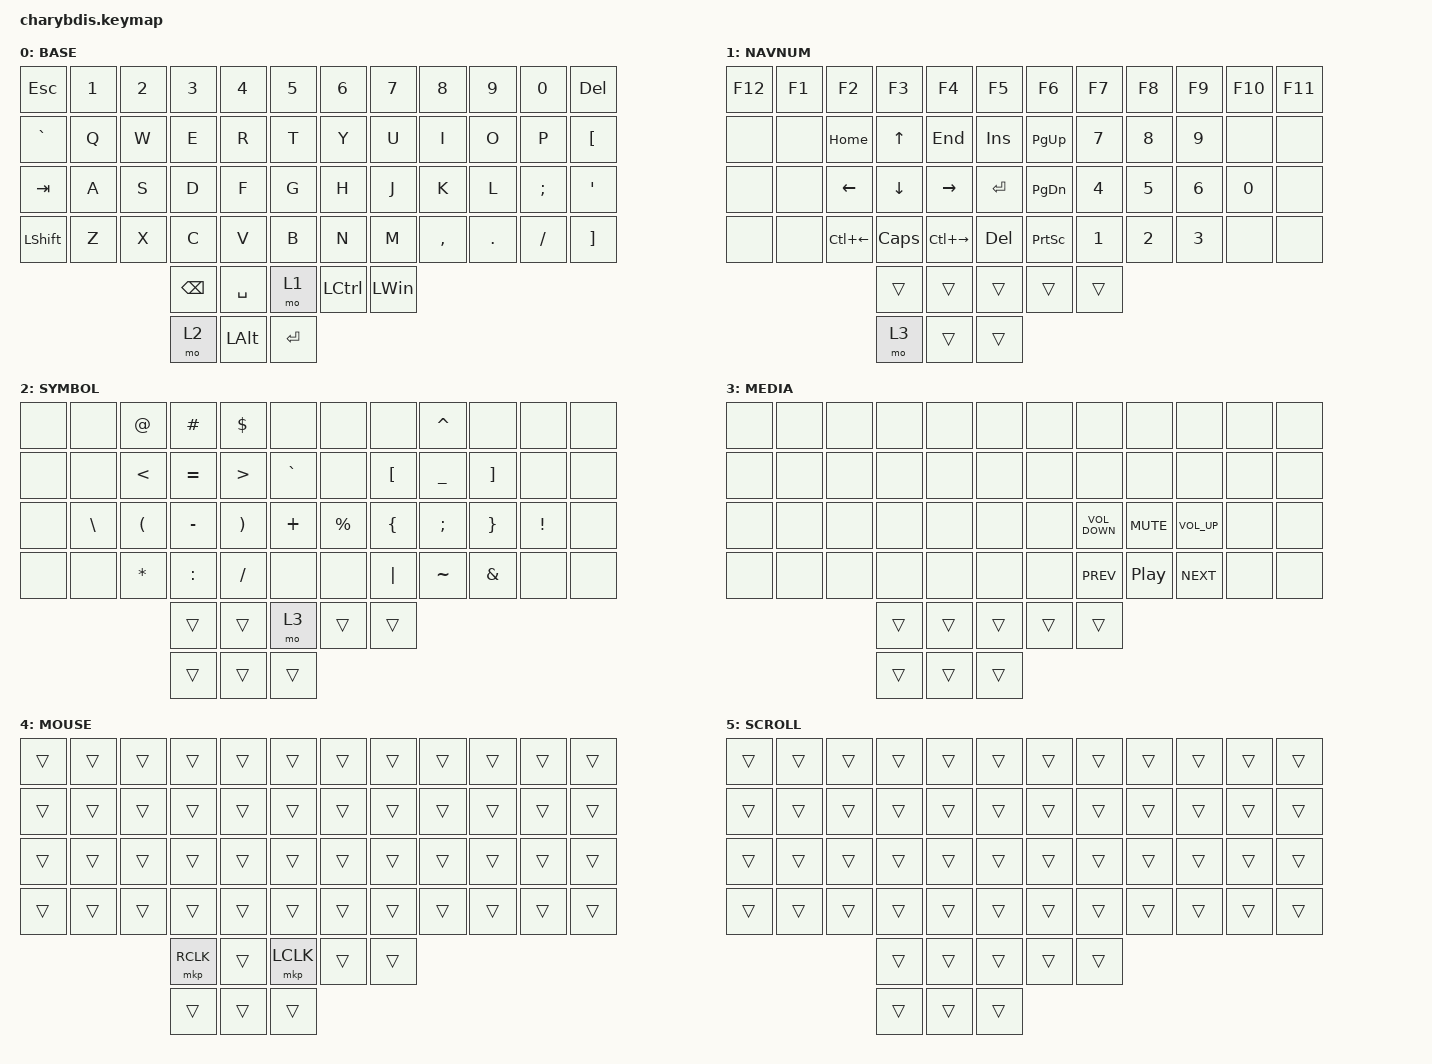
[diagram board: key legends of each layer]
Attempt 16 - thumb key cleanup  

#include <dt-bindings/zmk/mouse.h>
#include <behaviors/mouse_keys.dtsi>
#include <behaviors.dtsi>
#include <dt-bindings/zmk/bt.h>
#include <dt-bindings/zmk/keys.h>
#include <dt-bindings/zmk/outputs.h>
#include <dt-bindings/zmk/pointing.h>

/ {
    combos {
        compatible = "zmk,combos";

        combo_esc {
            timeout-ms = <50>;
            key-positions = <0 1>;
            bindings = <&kp ESC>;
        };

        combo_lclk {
            bindings = <&mkp LCLK>;
            key-positions = <46 47>;
            timeout-ms = <50>;
        };
    };

    keymap {
        compatible = "zmk,keymap";

BASE {
    display-name = "BASE";
    bindings = <
        &kp ESC         &kp NUMBER_1     &kp NUMBER_2     &kp NUMBER_3    &kp NUMBER_4    &kp NUMBER_5    &kp NUMBER_6     &kp NUMBER_7     &kp NUMBER_8     &kp NUMBER_9    &kp NUMBER_0     &kp DELETE
        &kp GRAVE       &kp Q            &kp W            &kp E           &kp R           &kp T           &kp Y            &kp U            &kp I            &kp O           &kp P            &kp LEFT_BRACKET
        &kp TAB         &kp A            &kp S            &kp D           &kp F           &kp G           &kp H            &kp J            &kp K            &kp L           &kp SEMI         &kp APOS
        &kp LEFT_SHIFT  &kp Z            &kp X            &kp C           &kp V           &kp B           &kp N            &kp M            &kp COMMA        &kp DOT         &kp FSLH         &kp RIGHT_BRACKET
                                                     &kp BACKSPACE       &kp SPACE  &mo 1           &kp LCTRL   &kp LEFT_WIN
                                                                  &mo 2          &kp LEFT_ALT    &kp ENTER
    >;
};




        NAVNUM {
            display-name = "NAVNUM";
            bindings = <
&kp F12  &kp F1  &kp F2        &kp F3        &kp F4         &kp F5        &kp F6           &kp F7        &kp F8        &kp F9        &kp F10       &kp F11
&none    &none   &kp HOME      &kp UP        &kp END        &kp INSERT    &kp PAGE_UP      &kp NUMBER_7  &kp NUMBER_8  &kp NUMBER_9  &none         &none
&none    &none   &kp LEFT      &kp DOWN      &kp RIGHT      &kp ENTER     &kp PAGE_DOWN    &kp NUMBER_4  &kp NUMBER_5  &kp NUMBER_6  &kp NUMBER_0  &none
&none    &none   &kp LC(LEFT)  &kp CAPSLOCK  &kp LC(RIGHT)  &kp DELETE    &kp PRINTSCREEN  &kp NUMBER_1  &kp NUMBER_2  &kp NUMBER_3  &none         &none
                               &trans        &trans         &trans        &trans           &trans
                                             &mo 3          &trans        &trans
            >;
        };

        SYMBOL {
            display-name = "SYMBOL";
            bindings = <
&none  &none          &kp AT_SIGN           &kp HASH   &kp DOLLAR             &none        &none        &none             &kp CARET       &none              &none            &none
&none  &none          &kp LESS_THAN         &kp EQUAL  &kp GREATER_THAN       &kp GRAVE    &none        &kp LEFT_BRACKET  &kp UNDERSCORE  &kp RIGHT_BRACKET  &none            &none
&none  &kp BACKSLASH  &kp LEFT_PARENTHESIS  &kp MINUS  &kp RIGHT_PARENTHESIS  &kp PLUS     &kp PERCENT  &kp LEFT_BRACE    &kp SEMICOLON   &kp RIGHT_BRACE    &kp EXCLAMATION  &none
&none  &none          &kp ASTERISK          &kp COLON  &kp SLASH              &none        &none        &kp PIPE          &kp TILDE       &kp AMPERSAND      &none            &none
                                            &trans     &trans                 &mo 3        &trans       &trans
                                                       &trans                 &trans       &trans
            >;
        };

        MEDIA {
            display-name = "MEDIA";
            bindings = <
&none  &none  &none  &none   &none   &none     &none   &none              &none             &none            &none  &none
&none  &none  &none  &none   &none   &none     &none   &none              &none             &none            &none  &none
&none  &none  &none  &none   &none   &none     &none   &kp C_VOLUME_DOWN  &kp C_MUTE        &kp C_VOLUME_UP  &none  &none
&none  &none  &none  &none   &none   &none     &none   &kp C_PREV         &kp C_PLAY_PAUSE  &kp C_NEXT       &none  &none
                     &trans  &trans  &trans    &trans  &trans
                             &trans  &trans    &trans
            >;
        };

        MOUSE {
            display-name = "MOUSE";
            bindings = <
&trans  &trans  &trans  &trans     &trans  &trans       &trans  &trans  &trans  &trans  &trans  &trans
&trans  &trans  &trans  &trans     &trans  &trans       &trans  &trans  &trans  &trans  &trans  &trans
&trans  &trans  &trans  &trans     &trans  &trans       &trans  &trans  &trans  &trans  &trans  &trans
&trans  &trans  &trans  &trans     &trans  &trans       &trans  &trans  &trans  &trans  &trans  &trans
                        &mkp RCLK  &trans  &mkp LCLK    &trans  &trans
                                   &trans  &trans       &trans
            >;
        };

        SCROLL {
            display-name = "SCROLL";
            bindings = <
&trans  &trans  &trans  &trans  &trans  &trans    &trans  &trans  &trans  &trans  &trans  &trans
&trans  &trans  &trans  &trans  &trans  &trans    &trans  &trans  &trans  &trans  &trans  &trans
&trans  &trans  &trans  &trans  &trans  &trans    &trans  &trans  &trans  &trans  &trans  &trans
&trans  &trans  &trans  &trans  &trans  &trans    &trans  &trans  &trans  &trans  &trans  &trans
                        &trans  &trans  &trans    &trans  &trans
                                &trans  &trans    &trans
            >;
        };
    };
};
